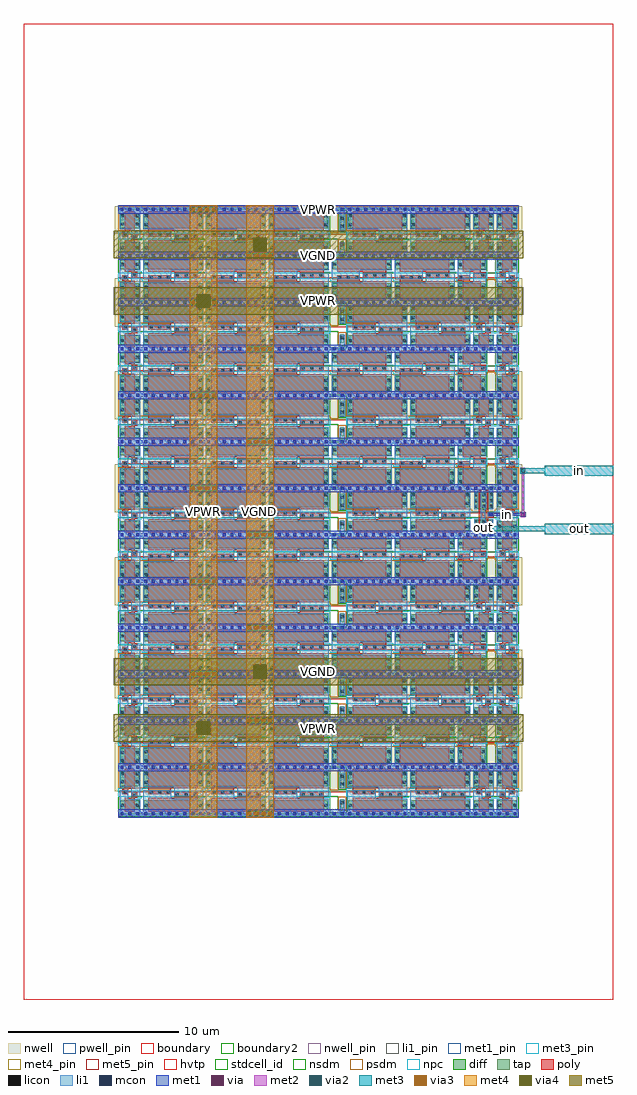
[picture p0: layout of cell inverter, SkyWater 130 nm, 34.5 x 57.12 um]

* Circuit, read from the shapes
.subckt inverter VGND VPWR in out
XM1 VGND VPWR VGND VGND sky130_fd_pr__nfet_01v8 w=0.55 l=0.59 m=32
XM2 VGND VPWR VGND VGND sky130_fd_pr__nfet_01v8 w=0.55 l=2.89 m=65
XM3 VGND VPWR VGND VGND sky130_fd_pr__nfet_01v8 w=0.55 l=1.05 m=6
XM4 out in VGND VGND sky130_fd_pr__nfet_01v8 w=0.65 l=0.15 m=2
XM5 VPWR VGND VPWR VPWR sky130_fd_pr__pfet_01v8_hvt w=0.87 l=0.59 m=32
XM6 VPWR VGND VPWR VPWR sky130_fd_pr__pfet_01v8_hvt w=0.87 l=2.89 m=65
XM7 VPWR VGND VPWR VPWR sky130_fd_pr__pfet_01v8_hvt w=0.87 l=1.05 m=6
XM8 out in VPWR VPWR sky130_fd_pr__pfet_01v8_hvt w=1 l=0.15 m=2
.ends

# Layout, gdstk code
from math import pi, radians
import gdstk
lib = gdstk.Library(unit=1e-6, precision=1e-09)
def R(c, l, rs):  # rectangles x0, y0, x1, y1
    for r in rs: c.add(gdstk.rectangle(r[:2], r[2:], *l))
def A(c, l, x, y, w, h, nx, ny, dx, dy):  # array of equal rectangles
    R(c, l, [(x+i*dx, y+j*dy, x+i*dx+w, y+j*dy+h) for i in range(nx) for j in range(ny)])
def P(c, l, *ps):  # polygons
    for p in ps: c.add(gdstk.Polygon(p, *l))
nwell_pin = (64, 16)
nwell = (64, 20)
diff = (65, 20)
tap = (65, 44)
poly = (66, 20)
licon = (66, 44)
li1_pin = (67, 16)
li1 = (67, 20)
mcon = (67, 44)
met1_pin = (68, 16)
met1 = (68, 20)
via = (68, 44)
met2 = (69, 20)
via2 = (69, 44)
met3_pin = (70, 16)
met3 = (70, 20)
via3 = (70, 44)
met4_pin = (71, 16)
met4 = (71, 20)
via4 = (71, 44)
met5_pin = (72, 16)
met5 = (72, 20)
hvtp = (78, 44)
stdcell_id = (81, 4)
nsdm = (93, 44)
psdm = (94, 20)
npc = (95, 20)
pwell_pin = (122, 16)
boundary = (235, 4)
boundary2 = (236, 0)

sky130_fd_sc_hd__decap_8 = lib.new_cell('sky130_fd_sc_hd__decap_8')
R(sky130_fd_sc_hd__decap_8, nwell_pin, [(0.145,2.635,0.315,2.805)])
R(sky130_fd_sc_hd__decap_8, nwell, [(-0.19,1.305,3.87,2.91)])
R(sky130_fd_sc_hd__decap_8, diff, [(0.135,0.235,3.545,0.785), (0.135,1.615,3.545,2.485)])
P(sky130_fd_sc_hd__decap_8, poly, [(3.285,2.615),(0.395,2.615),(0.395,1.125),(1.715,1.125),(1.715,1.485),(3.285,1.485)],
  [(3.285,1.275),(1.925,1.275),(1.925,0.915),(0.395,0.915),(0.395,0.105),(3.285,0.105)])
A(sky130_fd_sc_hd__decap_8, licon, 2.005, 1.025, 0.17, 0.17, 3, 1, 0.515, 0)
A(sky130_fd_sc_hd__decap_8, licon, 0.475, 1.205, 0.17, 0.17, 3, 1, 0.495, 0)
R(sky130_fd_sc_hd__decap_8, licon, [(0.175,0.39,0.345,0.56), (3.335,0.39,3.505,0.56), (0.175,1.745,0.345,1.915), (3.335,1.745,3.505,1.915), (0.175,2.255,0.345,2.425), (3.335,2.255,3.505,2.425)])
P(sky130_fd_sc_hd__decap_8, li1, [(3.68,0.085),(3.595,0.085),(3.595,0.855),(1.735,0.855),(1.735,1.375),(0.085,1.375),(0.085,0.085),(0,0.085),(0,-0.085),(3.68,-0.085)],
  [(3.68,2.805),(0,2.805),(0,2.635),(0.085,2.635),(0.085,1.545),(1.905,1.545),(1.905,1.025),(3.595,1.025),(3.595,2.635),(3.68,2.635)])
A(sky130_fd_sc_hd__decap_8, mcon, 0.145, -0.085, 0.17, 0.17, 8, 2, 0.46, 2.72)
R(sky130_fd_sc_hd__decap_8, met1_pin, [(0.145,-0.085,0.315,0.085), (0.145,2.635,0.315,2.805)])
R(sky130_fd_sc_hd__decap_8, hvtp, [(0,1.25,3.68,2.72)])
R(sky130_fd_sc_hd__decap_8, stdcell_id, [(0,0,3.68,2.72)])
R(sky130_fd_sc_hd__decap_8, nsdm, [(0,-0.19,3.68,1.015)])
R(sky130_fd_sc_hd__decap_8, psdm, [(0,1.485,3.68,2.91)])
P(sky130_fd_sc_hd__decap_8, npc, [(3.68,1.345),(1.735,1.345),(1.735,1.475),(0,1.475),(0,0.975),(1.905,0.975),(1.905,0.925),(3.68,0.925)])
R(sky130_fd_sc_hd__decap_8, pwell_pin, [(0.145,-0.085,0.315,0.085)])
R(sky130_fd_sc_hd__decap_8, boundary2, [(0,0,3.68,2.72)])
sky130_fd_sc_hd__decap_8.add(gdstk.FlexPath([(0,2.72),(3.68,2.72)], 0.48, ends="flush", simple_path=True, layer=68, datatype=20))  # met1
sky130_fd_sc_hd__decap_8.add(gdstk.FlexPath([(0,0),(3.68,0)], 0.48, ends="flush", simple_path=True, layer=68, datatype=20))  # met1
sky130_fd_sc_hd__decap_8.add(gdstk.Label('VPWR', (0.23,2.72), layer=68, texttype=5))
sky130_fd_sc_hd__decap_8.add(gdstk.Label('VGND', (0.23,0), layer=68, texttype=5))
sky130_fd_sc_hd__decap_8.add(gdstk.Label('VPB', (0.23,2.72), layer=64, texttype=5))
sky130_fd_sc_hd__decap_8.add(gdstk.Label('VNB', (0.23,0), layer=64, texttype=59))
sky130_fd_sc_hd__decap_8.add(gdstk.Label('decap_8', (0,0), layer=83, texttype=44))

sky130_fd_sc_hd__decap_3 = lib.new_cell('sky130_fd_sc_hd__decap_3')
R(sky130_fd_sc_hd__decap_3, nwell_pin, [(0.145,2.635,0.315,2.805)])
R(sky130_fd_sc_hd__decap_3, nwell, [(-0.19,1.305,1.57,2.91)])
R(sky130_fd_sc_hd__decap_3, diff, [(0.135,0.235,1.245,0.785), (0.135,1.615,1.245,2.485)])
P(sky130_fd_sc_hd__decap_3, poly, [(1.125,1.255),(0.795,1.255),(0.795,0.915),(0.395,0.915),(0.395,0.105),(0.985,0.105),(0.985,0.925),(1.125,0.925)],
  [(0.985,2.615),(0.395,2.615),(0.395,1.455),(0.255,1.455),(0.255,1.125),(0.585,1.125),(0.585,1.465),(0.985,1.465)])
R(sky130_fd_sc_hd__decap_3, licon, [(0.175,0.4,0.345,0.57), (1.035,0.4,1.205,0.57), (0.875,1.005,1.045,1.175), (0.335,1.205,0.505,1.375), (0.175,1.78,0.345,1.95), (1.035,1.78,1.205,1.95), (0.175,2.255,0.345,2.425), (1.035,2.255,1.205,2.425)])
P(sky130_fd_sc_hd__decap_3, li1, [(1.38,2.805),(0,2.805),(0,2.635),(0.085,2.635),(0.085,1.545),(0.775,1.545),(0.775,1.005),(1.295,1.005),(1.295,2.635),(1.38,2.635)],
  [(1.38,0.085),(1.295,0.085),(1.295,0.835),(0.605,0.835),(0.605,1.375),(0.085,1.375),(0.085,0.085),(0,0.085),(0,-0.085),(1.38,-0.085)])
A(sky130_fd_sc_hd__decap_3, mcon, 0.145, -0.085, 0.17, 0.17, 3, 2, 0.46, 2.72)
R(sky130_fd_sc_hd__decap_3, met1_pin, [(0.145,-0.085,0.315,0.085), (0.145,2.635,0.315,2.805)])
R(sky130_fd_sc_hd__decap_3, hvtp, [(0,1.25,1.38,2.72)])
R(sky130_fd_sc_hd__decap_3, stdcell_id, [(0,0,1.38,2.72)])
R(sky130_fd_sc_hd__decap_3, nsdm, [(0,-0.19,1.38,1.015)])
R(sky130_fd_sc_hd__decap_3, psdm, [(0,1.485,1.38,2.91)])
P(sky130_fd_sc_hd__decap_3, npc, [(1.38,1.345),(0.605,1.345),(0.605,1.475),(0,1.475),(0,0.975),(0.775,0.975),(0.775,0.905),(1.38,0.905)])
R(sky130_fd_sc_hd__decap_3, pwell_pin, [(0.145,-0.085,0.315,0.085)])
R(sky130_fd_sc_hd__decap_3, boundary2, [(0,0,1.38,2.72)])
sky130_fd_sc_hd__decap_3.add(gdstk.FlexPath([(0,2.72),(1.38,2.72)], 0.48, ends="flush", simple_path=True, layer=68, datatype=20))  # met1
sky130_fd_sc_hd__decap_3.add(gdstk.FlexPath([(0,0),(1.38,0)], 0.48, ends="flush", simple_path=True, layer=68, datatype=20))  # met1
sky130_fd_sc_hd__decap_3.add(gdstk.Label('VPWR', (0.23,2.72), layer=68, texttype=5))
sky130_fd_sc_hd__decap_3.add(gdstk.Label('VGND', (0.23,0), layer=68, texttype=5))
sky130_fd_sc_hd__decap_3.add(gdstk.Label('VPB', (0.23,2.72), layer=64, texttype=5))
sky130_fd_sc_hd__decap_3.add(gdstk.Label('VNB', (0.23,0), layer=64, texttype=59))
sky130_fd_sc_hd__decap_3.add(gdstk.Label('decap_3', (0,0), layer=83, texttype=44))

sky130_fd_sc_hd__fill_1 = lib.new_cell('sky130_fd_sc_hd__fill_1')
R(sky130_fd_sc_hd__fill_1, nwell_pin, [(0.155,2.67,0.255,2.755)])
R(sky130_fd_sc_hd__fill_1, nwell, [(-0.19,1.305,0.65,2.91)])
R(sky130_fd_sc_hd__fill_1, mcon, [(0.145,-0.085,0.315,0.085), (0.145,2.635,0.315,2.805)])
R(sky130_fd_sc_hd__fill_1, met1_pin, [(0.11,-0.065,0.29,0.08), (0.11,2.635,0.29,2.785)])
R(sky130_fd_sc_hd__fill_1, hvtp, [(0,1.25,0.46,2.72)])
R(sky130_fd_sc_hd__fill_1, stdcell_id, [(0,0,0.46,2.72)])
R(sky130_fd_sc_hd__fill_1, nsdm, [(0,-0.19,0.46,1.015)])
R(sky130_fd_sc_hd__fill_1, psdm, [(0,1.355,0.46,2.91)])
R(sky130_fd_sc_hd__fill_1, pwell_pin, [(0.14,-0.055,0.26,0.055)])
sky130_fd_sc_hd__fill_1.add(gdstk.FlexPath([(0,0),(0.46,0)], 0.17, ends="flush", simple_path=True, layer=67, datatype=20))  # li1
sky130_fd_sc_hd__fill_1.add(gdstk.FlexPath([(0,2.72),(0.46,2.72)], 0.17, ends="flush", simple_path=True, layer=67, datatype=20))  # li1
sky130_fd_sc_hd__fill_1.add(gdstk.FlexPath([(0,2.72),(0.46,2.72)], 0.48, ends="flush", simple_path=True, layer=68, datatype=20))  # met1
sky130_fd_sc_hd__fill_1.add(gdstk.FlexPath([(0,0),(0.46,0)], 0.48, ends="flush", simple_path=True, layer=68, datatype=20))  # met1
sky130_fd_sc_hd__fill_1.add(gdstk.Label('VPWR', (0.205,2.72), layer=68, texttype=5))
sky130_fd_sc_hd__fill_1.add(gdstk.Label('VGND', (0.205,0), layer=68, texttype=5))
sky130_fd_sc_hd__fill_1.add(gdstk.Label('VPB', (0.23,2.72), layer=64, texttype=5))
sky130_fd_sc_hd__fill_1.add(gdstk.Label('VNB', (0.23,0), layer=64, texttype=59))
sky130_fd_sc_hd__fill_1.add(gdstk.Label('fill_1', (0,0), layer=83, texttype=44))

sky130_fd_sc_hd__tapvpwr = lib.new_cell('sky130_fd_sc_hd__tapvpwrvgnd_1')
R(sky130_fd_sc_hd__tapvpwr, nwell, [(-0.19,1.305,0.65,2.91)])
R(sky130_fd_sc_hd__tapvpwr, tap, [(0.145,0.32,0.315,0.845), (0.145,1.525,0.315,2.4)])
R(sky130_fd_sc_hd__tapvpwr, licon, [(0.145,0.555,0.315,0.725), (0.145,1.645,0.315,1.815), (0.145,2.11,0.315,2.28)])
R(sky130_fd_sc_hd__tapvpwr, li1, [(0,-0.085,0.46,0.085), (0.085,0,0.375,0.81), (0.085,1.47,0.375,2.72), (0,2.635,0.46,2.805)])
R(sky130_fd_sc_hd__tapvpwr, mcon, [(0.145,-0.085,0.315,0.085), (0.145,2.635,0.315,2.805)])
R(sky130_fd_sc_hd__tapvpwr, met1_pin, [(0.105,-0.09,0.36,0.1), (0.11,2.62,0.375,2.765)])
R(sky130_fd_sc_hd__tapvpwr, met1, [(0,-0.24,0.46,0.24), (0,2.48,0.46,2.96)])
R(sky130_fd_sc_hd__tapvpwr, hvtp, [(0,1.25,0.46,2.72)])
R(sky130_fd_sc_hd__tapvpwr, stdcell_id, [(0,0,0.46,2.72)])
R(sky130_fd_sc_hd__tapvpwr, nsdm, [(0,-0.19,0.46,0.19), (0,1.395,0.46,2.53)])
R(sky130_fd_sc_hd__tapvpwr, psdm, [(0,0.19,0.46,0.975), (0,2.53,0.46,2.91)])
sky130_fd_sc_hd__tapvpwr.add(gdstk.Label('VPWR', (0.23,2.72), layer=68, texttype=5))
sky130_fd_sc_hd__tapvpwr.add(gdstk.Label('VGND', (0.23,0), layer=68, texttype=5))
sky130_fd_sc_hd__tapvpwr.add(gdstk.Label('tapvpwrvgnd_1', (0,0), layer=83, texttype=44))

sky130_fd_sc_hd__decap_4 = lib.new_cell('sky130_fd_sc_hd__decap_4')
R(sky130_fd_sc_hd__decap_4, nwell_pin, [(0.145,2.635,0.315,2.805)])
R(sky130_fd_sc_hd__decap_4, nwell, [(-0.19,1.305,2.03,2.91)])
R(sky130_fd_sc_hd__decap_4, diff, [(0.135,0.235,1.705,0.785), (0.135,1.615,1.705,2.485)])
P(sky130_fd_sc_hd__decap_4, poly, [(1.445,2.615),(0.395,2.615),(0.395,1.455),(0.105,1.455),(0.105,1.125),(0.815,1.125),(0.815,1.485),(1.445,1.485)],
  [(1.735,1.275),(1.025,1.275),(1.025,0.915),(0.395,0.915),(0.395,0.105),(1.445,0.105),(1.445,0.945),(1.735,0.945)])
R(sky130_fd_sc_hd__decap_4, licon, [(0.175,0.425,0.345,0.595), (1.495,0.425,1.665,0.595), (1.485,1.025,1.655,1.195), (0.185,1.205,0.355,1.375), (0.175,1.745,0.345,1.915), (1.495,1.745,1.665,1.915), (0.175,2.255,0.345,2.425), (1.495,2.255,1.665,2.425)])
P(sky130_fd_sc_hd__decap_4, li1, [(1.84,2.805),(0,2.805),(0,2.635),(0.085,2.635),(0.085,1.545),(1.005,1.545),(1.005,1.025),(1.755,1.025),(1.755,2.635),(1.84,2.635)],
  [(1.84,0.085),(1.755,0.085),(1.755,0.855),(0.835,0.855),(0.835,1.375),(0.085,1.375),(0.085,0.085),(0,0.085),(0,-0.085),(1.84,-0.085)])
A(sky130_fd_sc_hd__decap_4, mcon, 0.145, -0.085, 0.17, 0.17, 4, 2, 0.46, 2.72)
R(sky130_fd_sc_hd__decap_4, met1_pin, [(0.145,-0.085,0.315,0.085), (0.145,2.635,0.315,2.805)])
R(sky130_fd_sc_hd__decap_4, hvtp, [(0,1.25,1.84,2.72)])
R(sky130_fd_sc_hd__decap_4, stdcell_id, [(0,0,1.84,2.72)])
R(sky130_fd_sc_hd__decap_4, nsdm, [(0,-0.19,1.84,1.015)])
R(sky130_fd_sc_hd__decap_4, psdm, [(0,1.485,1.84,2.91)])
P(sky130_fd_sc_hd__decap_4, npc, [(1.84,1.345),(0.455,1.345),(0.455,1.475),(0,1.475),(0,0.975),(1.385,0.975),(1.385,0.925),(1.84,0.925)])
R(sky130_fd_sc_hd__decap_4, pwell_pin, [(0.145,-0.085,0.315,0.085)])
R(sky130_fd_sc_hd__decap_4, boundary2, [(0,0,1.84,2.72)])
sky130_fd_sc_hd__decap_4.add(gdstk.FlexPath([(0,2.72),(1.84,2.72)], 0.48, ends="flush", simple_path=True, layer=68, datatype=20))  # met1
sky130_fd_sc_hd__decap_4.add(gdstk.FlexPath([(0,0),(1.84,0)], 0.48, ends="flush", simple_path=True, layer=68, datatype=20))  # met1
sky130_fd_sc_hd__decap_4.add(gdstk.Label('VGND', (0.23,0), layer=68, texttype=5))
sky130_fd_sc_hd__decap_4.add(gdstk.Label('VPWR', (0.23,2.72), layer=68, texttype=5))
sky130_fd_sc_hd__decap_4.add(gdstk.Label('VPB', (0.23,2.72), layer=64, texttype=5))
sky130_fd_sc_hd__decap_4.add(gdstk.Label('VNB', (0.23,0), layer=64, texttype=59))
sky130_fd_sc_hd__decap_4.add(gdstk.Label('decap_4', (0,0), layer=83, texttype=44))

sky130_fd_sc_hd__inv_2 = lib.new_cell('sky130_fd_sc_hd__inv_2')
R(sky130_fd_sc_hd__inv_2, nwell_pin, [(0.145,2.635,0.315,2.805)])
R(sky130_fd_sc_hd__inv_2, nwell, [(-0.19,1.305,1.57,2.91)])
R(sky130_fd_sc_hd__inv_2, diff, [(0.145,0.235,1.235,0.885), (0.145,1.485,1.235,2.485)])
P(sky130_fd_sc_hd__inv_2, poly, [(0.975,2.615),(0.825,2.615),(0.825,1.325),(0.555,1.325),(0.555,2.615),(0.405,2.615),(0.405,1.325),(0.105,1.325),(0.105,0.995),(0.405,0.995),(0.405,0.105),(0.555,0.105),(0.555,0.995),(0.825,0.995),(0.825,0.105),(0.975,0.105)])
A(sky130_fd_sc_hd__inv_2, licon, 0.185, 0.295, 0.17, 0.17, 3, 2, 0.42, 0.36)
A(sky130_fd_sc_hd__inv_2, licon, 0.185, 1.575, 0.17, 0.17, 3, 3, 0.42, 0.34)
R(sky130_fd_sc_hd__inv_2, licon, [(0.185,1.075,0.355,1.245)])
A(sky130_fd_sc_hd__inv_2, li1_pin, 0.605, 0.765, 0.17, 0.17, 1, 3, 0, 0.34)
R(sky130_fd_sc_hd__inv_2, li1_pin, [(0.145,1.105,0.315,1.275)])
R(sky130_fd_sc_hd__inv_2, li1, [(0.105,1.075,0.435,1.325)])
P(sky130_fd_sc_hd__inv_2, li1, [(1.38,2.805),(0,2.805),(0,2.635),(0.125,2.635),(0.125,1.495),(0.355,1.495),(0.355,2.635),(1.025,2.635),(1.025,1.495),(1.235,1.495),(1.235,2.635),(1.38,2.635)],
  [(0.855,2.465),(0.525,2.465),(0.525,1.485),(0.605,1.485),(0.605,0.885),(0.525,0.885),(0.525,0.255),(0.855,0.255)],
  [(1.38,0.085),(1.235,0.085),(1.235,0.905),(1.025,0.905),(1.025,0.085),(0.355,0.085),(0.355,0.905),(0.125,0.905),(0.125,0.085),(0,0.085),(0,-0.085),(1.38,-0.085)])
A(sky130_fd_sc_hd__inv_2, mcon, 0.145, -0.085, 0.17, 0.17, 3, 2, 0.46, 2.72)
R(sky130_fd_sc_hd__inv_2, met1_pin, [(0.145,-0.085,0.315,0.085), (0.145,2.635,0.315,2.805)])
R(sky130_fd_sc_hd__inv_2, hvtp, [(0,1.25,1.38,2.72)])
R(sky130_fd_sc_hd__inv_2, stdcell_id, [(0,0,1.38,2.72)])
R(sky130_fd_sc_hd__inv_2, nsdm, [(0,-0.19,1.38,1.015)])
R(sky130_fd_sc_hd__inv_2, psdm, [(0,1.355,1.38,2.91)])
R(sky130_fd_sc_hd__inv_2, npc, [(0,0.975,1.38,1.345)])
R(sky130_fd_sc_hd__inv_2, pwell_pin, [(0.145,-0.085,0.315,0.085)])
R(sky130_fd_sc_hd__inv_2, boundary2, [(0,0,1.38,2.72)])
sky130_fd_sc_hd__inv_2.add(gdstk.FlexPath([(0,2.72),(1.38,2.72)], 0.48, ends="flush", simple_path=True, layer=68, datatype=20))  # met1
sky130_fd_sc_hd__inv_2.add(gdstk.FlexPath([(0,0),(1.38,0)], 0.48, ends="flush", simple_path=True, layer=68, datatype=20))  # met1
sky130_fd_sc_hd__inv_2.add(gdstk.Label('A', (0.23,1.19), layer=67, texttype=5))
sky130_fd_sc_hd__inv_2.add(gdstk.Label('Y', (0.69,0.85), layer=67, texttype=5))
sky130_fd_sc_hd__inv_2.add(gdstk.Label('Y', (0.69,1.53), layer=67, texttype=5))
sky130_fd_sc_hd__inv_2.add(gdstk.Label('Y', (0.69,1.19), layer=67, texttype=5))
sky130_fd_sc_hd__inv_2.add(gdstk.Label('VPB', (0.23,2.72), layer=64, texttype=5))
sky130_fd_sc_hd__inv_2.add(gdstk.Label('VNB', (0.23,0), layer=64, texttype=59))
sky130_fd_sc_hd__inv_2.add(gdstk.Label('VPWR', (0.23,2.72), layer=68, texttype=5))
sky130_fd_sc_hd__inv_2.add(gdstk.Label('VGND', (0.23,0), layer=68, texttype=5))
sky130_fd_sc_hd__inv_2.add(gdstk.Label('inv_2', (0,0), layer=83, texttype=44))

inverter = lib.new_cell('inverter')
R(inverter, li1, [(26.825,27.625,26.995,27.795), (27.285,28.305,27.455,28.475)])
R(inverter, mcon, [(26.825,27.625,26.995,27.795), (27.285,28.305,27.455,28.475)])
A(inverter, met1, 5.52, 10.64, 23.46, 0.48, 1, 14, 0, 2.72)
R(inverter, met1, [(26.75,27.58,27.07,27.84), (29.05,28.26,29.37,28.32), (27.225,28.275,27.515,28.32), (27.225,28.32,29.37,28.46), (27.225,28.46,27.515,28.505), (29.05,28.46,29.37,28.52)])
A(inverter, via, 13.105, 10.805, 0.15, 0.15, 5, 7, 0.32, 5.44)
A(inverter, via, 9.805, 13.525, 0.15, 0.15, 5, 7, 0.32, 5.44)
R(inverter, via, [(26.835,27.635,26.985,27.785), (29.135,28.315,29.285,28.465)])
A(inverter, met2, 13.05, 10.695, 1.54, 0.37, 1, 7, 0, 5.44)
A(inverter, met2, 9.75, 13.415, 1.54, 0.37, 1, 7, 0, 5.44)
R(inverter, met2, [(26.77,27.355,27.05,27.725), (26.78,27.725,27.04,27.87), (29.08,28.23,29.34,28.55), (29.14,28.55,29.28,30.755), (29.07,30.755,29.35,31.125)])
A(inverter, via2, 13.12, 10.78, 0.2, 0.2, 4, 7, 0.4, 5.44)
A(inverter, via2, 9.82, 13.5, 0.2, 0.2, 4, 7, 0.4, 5.44)
R(inverter, via2, [(26.81,27.44,27.01,27.64), (29.11,30.84,29.31,31.04)])
R(inverter, met3_pin, [(30.5,27.24,34.5,27.84), (30.5,30.64,34.5,31.24)])
A(inverter, met3, 13.03, 10.715, 1.58, 0.33, 1, 7, 0, 5.44)
A(inverter, met3, 9.73, 13.435, 1.58, 0.33, 1, 7, 0, 5.44)
R(inverter, met3, [(30.5,27.24,34.5,27.39), (26.745,27.375,27.075,27.39), (26.745,27.39,34.5,27.69), (26.745,27.69,27.075,27.705), (30.5,27.69,34.5,27.84), (30.5,30.64,34.5,30.79), (29.045,30.775,29.375,30.79), (29.045,30.79,34.5,31.09), (29.045,31.09,29.375,31.105), (30.5,31.09,34.5,31.24)])
A(inverter, via3, 13.12, 10.78, 0.2, 0.2, 4, 7, 0.4, 5.44)
A(inverter, via3, 9.82, 13.5, 0.2, 0.2, 4, 7, 0.4, 5.44)
R(inverter, met4_pin, [(9.72,10.64,11.32,46.48), (13.02,10.64,14.62,46.48)])
R(inverter, met4, [(9.72,10.64,11.32,46.48), (13.02,10.64,14.62,46.48)])
R(inverter, via4, [(10.12,15.48,10.92,16.28), (13.42,18.78,14.22,19.58), (10.12,40.48,10.92,41.28), (13.42,43.78,14.22,44.58)])
R(inverter, met5_pin, [(5.28,15.08,29.22,16.68), (5.28,18.38,29.22,19.98), (5.28,40.08,29.22,41.68), (5.28,43.38,29.22,44.98)])
R(inverter, met5, [(5.28,15.08,29.22,16.68), (5.28,18.38,29.22,19.98), (5.28,40.08,29.22,41.68), (5.28,43.38,29.22,44.98)])
R(inverter, boundary, [(0,0,34.5,57.12)])
inverter.add(gdstk.Reference(sky130_fd_sc_hd__decap_8, (6.9,10.88)))
inverter.add(gdstk.Reference(sky130_fd_sc_hd__decap_8, (6.9,16.32), x_reflection=True))
inverter.add(gdstk.Reference(sky130_fd_sc_hd__decap_3, (5.52,10.88)))
inverter.add(gdstk.Reference(sky130_fd_sc_hd__decap_3, (5.52,16.32), x_reflection=True))
inverter.add(gdstk.Reference(sky130_fd_sc_hd__decap_8, (10.58,10.88)))
inverter.add(gdstk.Reference(sky130_fd_sc_hd__decap_8, (10.58,16.32), x_reflection=True))
inverter.add(gdstk.Reference(sky130_fd_sc_hd__decap_8, (14.26,10.88)))
inverter.add(gdstk.Reference(sky130_fd_sc_hd__decap_8, (14.26,16.32), x_reflection=True))
inverter.add(gdstk.Reference(sky130_fd_sc_hd__fill_1, (17.94,10.88)))
inverter.add(gdstk.Reference(sky130_fd_sc_hd__decap_8, (18.86,10.88)))
inverter.add(gdstk.Reference(sky130_fd_sc_hd__decap_8, (17.94,16.32), x_reflection=True))
inverter.add(gdstk.Reference(sky130_fd_sc_hd__decap_8, (21.62,16.32), x_reflection=True))
inverter.add(gdstk.Reference(sky130_fd_sc_hd__tapvpwr, (18.4,10.88)))
inverter.add(gdstk.Reference(sky130_fd_sc_hd__decap_8, (22.54,10.88)))
inverter.add(gdstk.Reference(sky130_fd_sc_hd__decap_4, (25.3,16.32), x_reflection=True))
inverter.add(gdstk.Reference(sky130_fd_sc_hd__decap_3, (26.22,10.88)))
inverter.add(gdstk.Reference(sky130_fd_sc_hd__fill_1, (27.14,16.32), x_reflection=True))
inverter.add(gdstk.Reference(sky130_fd_sc_hd__decap_3, (28.98,10.88), rotation=pi, x_reflection=True))
inverter.add(gdstk.Reference(sky130_fd_sc_hd__decap_3, (28.98,16.32), rotation=pi))
inverter.add(gdstk.Reference(sky130_fd_sc_hd__decap_8, (6.9,16.32)))
inverter.add(gdstk.Reference(sky130_fd_sc_hd__decap_3, (5.52,16.32)))
inverter.add(gdstk.Reference(sky130_fd_sc_hd__decap_8, (10.58,16.32)))
inverter.add(gdstk.Reference(sky130_fd_sc_hd__decap_8, (14.26,16.32)))
inverter.add(gdstk.Reference(sky130_fd_sc_hd__fill_1, (17.94,16.32)))
inverter.add(gdstk.Reference(sky130_fd_sc_hd__decap_8, (18.86,16.32)))
inverter.add(gdstk.Reference(sky130_fd_sc_hd__tapvpwr, (18.4,16.32)))
inverter.add(gdstk.Reference(sky130_fd_sc_hd__decap_8, (22.54,16.32)))
inverter.add(gdstk.Reference(sky130_fd_sc_hd__decap_3, (26.22,16.32)))
inverter.add(gdstk.Reference(sky130_fd_sc_hd__decap_3, (28.98,16.32), rotation=pi, x_reflection=True))
inverter.add(gdstk.Reference(sky130_fd_sc_hd__decap_8, (6.9,21.76), x_reflection=True))
inverter.add(gdstk.Reference(sky130_fd_sc_hd__decap_3, (5.52,21.76), x_reflection=True))
inverter.add(gdstk.Reference(sky130_fd_sc_hd__decap_8, (10.58,21.76), x_reflection=True))
inverter.add(gdstk.Reference(sky130_fd_sc_hd__decap_8, (14.26,21.76), x_reflection=True))
inverter.add(gdstk.Reference(sky130_fd_sc_hd__decap_8, (17.94,21.76), x_reflection=True))
inverter.add(gdstk.Reference(sky130_fd_sc_hd__decap_8, (21.62,21.76), x_reflection=True))
inverter.add(gdstk.Reference(sky130_fd_sc_hd__decap_4, (25.3,21.76), x_reflection=True))
inverter.add(gdstk.Reference(sky130_fd_sc_hd__fill_1, (27.14,21.76), x_reflection=True))
inverter.add(gdstk.Reference(sky130_fd_sc_hd__decap_3, (28.98,21.76), rotation=pi))
inverter.add(gdstk.Reference(sky130_fd_sc_hd__decap_8, (6.9,21.76)))
inverter.add(gdstk.Reference(sky130_fd_sc_hd__decap_3, (5.52,21.76)))
inverter.add(gdstk.Reference(sky130_fd_sc_hd__decap_8, (10.58,21.76)))
inverter.add(gdstk.Reference(sky130_fd_sc_hd__decap_8, (14.26,21.76)))
inverter.add(gdstk.Reference(sky130_fd_sc_hd__fill_1, (17.94,21.76)))
inverter.add(gdstk.Reference(sky130_fd_sc_hd__decap_8, (18.86,21.76)))
inverter.add(gdstk.Reference(sky130_fd_sc_hd__tapvpwr, (18.4,21.76)))
inverter.add(gdstk.Reference(sky130_fd_sc_hd__decap_8, (22.54,21.76)))
inverter.add(gdstk.Reference(sky130_fd_sc_hd__decap_3, (26.22,21.76)))
inverter.add(gdstk.Reference(sky130_fd_sc_hd__decap_3, (28.98,21.76), rotation=pi, x_reflection=True))
inverter.add(gdstk.Reference(sky130_fd_sc_hd__decap_8, (6.9,27.2), x_reflection=True))
inverter.add(gdstk.Reference(sky130_fd_sc_hd__decap_3, (5.52,27.2), x_reflection=True))
inverter.add(gdstk.Reference(sky130_fd_sc_hd__decap_8, (10.58,27.2), x_reflection=True))
inverter.add(gdstk.Reference(sky130_fd_sc_hd__decap_8, (14.26,27.2), x_reflection=True))
inverter.add(gdstk.Reference(sky130_fd_sc_hd__decap_8, (17.94,27.2), x_reflection=True))
inverter.add(gdstk.Reference(sky130_fd_sc_hd__decap_8, (21.62,27.2), x_reflection=True))
inverter.add(gdstk.Reference(sky130_fd_sc_hd__decap_4, (25.3,27.2), x_reflection=True))
inverter.add(gdstk.Reference(sky130_fd_sc_hd__fill_1, (27.14,27.2), x_reflection=True))
inverter.add(gdstk.Reference(sky130_fd_sc_hd__decap_3, (28.98,27.2), rotation=pi))
inverter.add(gdstk.Reference(sky130_fd_sc_hd__decap_8, (6.9,27.2)))
inverter.add(gdstk.Reference(sky130_fd_sc_hd__decap_8, (6.9,32.64), x_reflection=True))
inverter.add(gdstk.Reference(sky130_fd_sc_hd__decap_3, (5.52,27.2)))
inverter.add(gdstk.Reference(sky130_fd_sc_hd__decap_3, (5.52,32.64), x_reflection=True))
inverter.add(gdstk.Reference(sky130_fd_sc_hd__decap_8, (10.58,27.2)))
inverter.add(gdstk.Reference(sky130_fd_sc_hd__decap_8, (10.58,32.64), x_reflection=True))
inverter.add(gdstk.Reference(sky130_fd_sc_hd__decap_8, (14.26,27.2)))
inverter.add(gdstk.Reference(sky130_fd_sc_hd__decap_8, (14.26,32.64), x_reflection=True))
inverter.add(gdstk.Reference(sky130_fd_sc_hd__fill_1, (17.94,27.2)))
inverter.add(gdstk.Reference(sky130_fd_sc_hd__decap_8, (18.86,27.2)))
inverter.add(gdstk.Reference(sky130_fd_sc_hd__decap_8, (17.94,32.64), x_reflection=True))
inverter.add(gdstk.Reference(sky130_fd_sc_hd__decap_8, (21.62,32.64), x_reflection=True))
inverter.add(gdstk.Reference(sky130_fd_sc_hd__tapvpwr, (18.4,27.2)))
inverter.add(gdstk.Reference(sky130_fd_sc_hd__decap_8, (22.54,27.2)))
inverter.add(gdstk.Reference(sky130_fd_sc_hd__decap_4, (25.3,32.64), x_reflection=True))
inverter.add(gdstk.Reference(sky130_fd_sc_hd__fill_1, (27.14,32.64), x_reflection=True))
inverter.add(gdstk.Reference(sky130_fd_sc_hd__decap_3, (28.98,27.2), rotation=pi, x_reflection=True))
inverter.add(gdstk.Reference(sky130_fd_sc_hd__decap_3, (28.98,32.64), rotation=pi))
inverter.add(gdstk.Reference(sky130_fd_sc_hd__inv_2, (27.6,27.2), rotation=pi, x_reflection=True))
inverter.add(gdstk.Reference(sky130_fd_sc_hd__decap_8, (6.9,32.64)))
inverter.add(gdstk.Reference(sky130_fd_sc_hd__decap_3, (5.52,32.64)))
inverter.add(gdstk.Reference(sky130_fd_sc_hd__decap_8, (10.58,32.64)))
inverter.add(gdstk.Reference(sky130_fd_sc_hd__decap_8, (14.26,32.64)))
inverter.add(gdstk.Reference(sky130_fd_sc_hd__fill_1, (17.94,32.64)))
inverter.add(gdstk.Reference(sky130_fd_sc_hd__decap_8, (18.86,32.64)))
inverter.add(gdstk.Reference(sky130_fd_sc_hd__tapvpwr, (18.4,32.64)))
inverter.add(gdstk.Reference(sky130_fd_sc_hd__decap_8, (22.54,32.64)))
inverter.add(gdstk.Reference(sky130_fd_sc_hd__decap_3, (26.22,32.64)))
inverter.add(gdstk.Reference(sky130_fd_sc_hd__decap_3, (28.98,32.64), rotation=pi, x_reflection=True))
inverter.add(gdstk.Reference(sky130_fd_sc_hd__decap_8, (6.9,38.08), x_reflection=True))
inverter.add(gdstk.Reference(sky130_fd_sc_hd__decap_3, (5.52,38.08), x_reflection=True))
inverter.add(gdstk.Reference(sky130_fd_sc_hd__decap_8, (10.58,38.08), x_reflection=True))
inverter.add(gdstk.Reference(sky130_fd_sc_hd__decap_8, (14.26,38.08), x_reflection=True))
inverter.add(gdstk.Reference(sky130_fd_sc_hd__decap_8, (17.94,38.08), x_reflection=True))
inverter.add(gdstk.Reference(sky130_fd_sc_hd__decap_8, (21.62,38.08), x_reflection=True))
inverter.add(gdstk.Reference(sky130_fd_sc_hd__decap_4, (25.3,38.08), x_reflection=True))
inverter.add(gdstk.Reference(sky130_fd_sc_hd__fill_1, (27.14,38.08), x_reflection=True))
inverter.add(gdstk.Reference(sky130_fd_sc_hd__decap_3, (28.98,38.08), rotation=pi))
inverter.add(gdstk.Reference(sky130_fd_sc_hd__decap_8, (6.9,38.08)))
inverter.add(gdstk.Reference(sky130_fd_sc_hd__decap_3, (5.52,38.08)))
inverter.add(gdstk.Reference(sky130_fd_sc_hd__decap_8, (10.58,38.08)))
inverter.add(gdstk.Reference(sky130_fd_sc_hd__decap_8, (14.26,38.08)))
inverter.add(gdstk.Reference(sky130_fd_sc_hd__fill_1, (17.94,38.08)))
inverter.add(gdstk.Reference(sky130_fd_sc_hd__decap_8, (18.86,38.08)))
inverter.add(gdstk.Reference(sky130_fd_sc_hd__tapvpwr, (18.4,38.08)))
inverter.add(gdstk.Reference(sky130_fd_sc_hd__decap_8, (22.54,38.08)))
inverter.add(gdstk.Reference(sky130_fd_sc_hd__decap_3, (26.22,38.08)))
inverter.add(gdstk.Reference(sky130_fd_sc_hd__decap_3, (28.98,38.08), rotation=pi, x_reflection=True))
inverter.add(gdstk.Reference(sky130_fd_sc_hd__decap_8, (6.9,43.52), x_reflection=True))
inverter.add(gdstk.Reference(sky130_fd_sc_hd__decap_3, (5.52,43.52), x_reflection=True))
inverter.add(gdstk.Reference(sky130_fd_sc_hd__decap_8, (10.58,43.52), x_reflection=True))
inverter.add(gdstk.Reference(sky130_fd_sc_hd__decap_8, (14.26,43.52), x_reflection=True))
inverter.add(gdstk.Reference(sky130_fd_sc_hd__decap_8, (17.94,43.52), x_reflection=True))
inverter.add(gdstk.Reference(sky130_fd_sc_hd__decap_8, (21.62,43.52), x_reflection=True))
inverter.add(gdstk.Reference(sky130_fd_sc_hd__decap_4, (25.3,43.52), x_reflection=True))
inverter.add(gdstk.Reference(sky130_fd_sc_hd__fill_1, (27.14,43.52), x_reflection=True))
inverter.add(gdstk.Reference(sky130_fd_sc_hd__decap_3, (28.98,43.52), rotation=pi))
inverter.add(gdstk.Reference(sky130_fd_sc_hd__decap_8, (6.9,43.52)))
inverter.add(gdstk.Reference(sky130_fd_sc_hd__decap_3, (5.52,43.52)))
inverter.add(gdstk.Reference(sky130_fd_sc_hd__decap_8, (10.58,43.52)))
inverter.add(gdstk.Reference(sky130_fd_sc_hd__decap_8, (14.26,43.52)))
inverter.add(gdstk.Reference(sky130_fd_sc_hd__fill_1, (17.94,43.52)))
inverter.add(gdstk.Reference(sky130_fd_sc_hd__decap_8, (18.86,43.52)))
inverter.add(gdstk.Reference(sky130_fd_sc_hd__tapvpwr, (18.4,43.52)))
inverter.add(gdstk.Reference(sky130_fd_sc_hd__decap_8, (22.54,43.52)))
inverter.add(gdstk.Reference(sky130_fd_sc_hd__decap_3, (26.22,43.52)))
inverter.add(gdstk.Reference(sky130_fd_sc_hd__decap_3, (28.98,43.52), rotation=pi, x_reflection=True))
inverter.add(gdstk.Label('VGND', (17.25,43.52), layer=68, texttype=5))
inverter.add(gdstk.Label('VPWR', (17.25,46.24), layer=68, texttype=5))
inverter.add(gdstk.Label('in', (28.29,28.39), layer=68, texttype=5))
inverter.add(gdstk.Label('out', (26.91,27.625), layer=70, texttype=5))
inverter.add(gdstk.Label('VGND', (17.25,44.18), layer=72, texttype=5))
inverter.add(gdstk.Label('VGND', (17.25,19.18), layer=72, texttype=5))
inverter.add(gdstk.Label('VGND', (13.82,28.56), layer=71, texttype=5))
inverter.add(gdstk.Label('VPWR', (17.25,40.88), layer=72, texttype=5))
inverter.add(gdstk.Label('VPWR', (17.25,15.88), layer=72, texttype=5))
inverter.add(gdstk.Label('VPWR', (10.52,28.56), layer=71, texttype=5))
inverter.add(gdstk.Label('in', (32.5,30.94), layer=70, texttype=5))
inverter.add(gdstk.Label('out', (32.5,27.54), layer=70, texttype=5))

lib.write_gds('inverter.gds')
